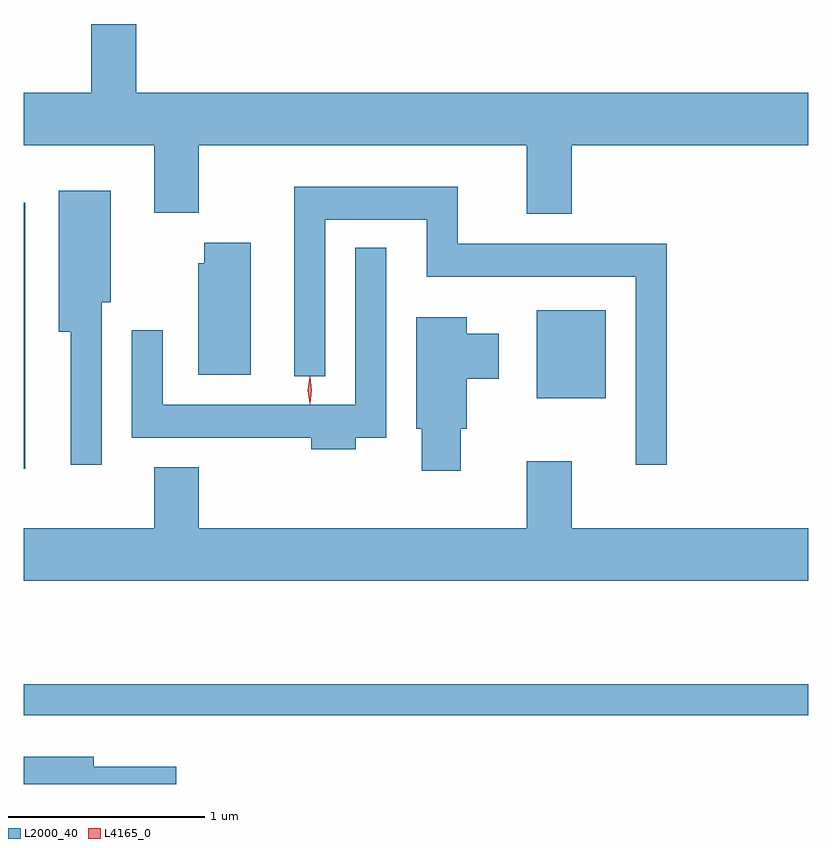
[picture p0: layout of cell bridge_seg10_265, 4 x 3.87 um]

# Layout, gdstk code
import gdstk
lib = gdstk.Library(unit=1e-6, precision=1e-09)
def R(c, l, rs):  # rectangles x0, y0, x1, y1
    for r in rs: c.add(gdstk.rectangle(r[:2], r[2:], *l))
def P(c, l, *ps):  # polygons
    for p in ps: c.add(gdstk.Polygon(p, *l))
L2000_40 = (2000, 40)
L4165_0 = (4165, 0)

bridge_seg10_265 = lib.new_cell('bridge_seg10_265')
R(bridge_seg10_265, L2000_40, [(1428.716,2199.811,1432.716,2199.969), (1428.716,2201.066,1428.724,2202.424), (1431.331,2201.426,1431.684,2201.874)])
P(bridge_seg10_265, L2000_40, [(1431.509,2202.716),(1432.716,2202.716),(1432.716,2202.984),(1429.289,2202.984),(1429.289,2203.334),(1429.061,2203.334),(1429.061,2202.984),(1428.716,2202.984),(1428.716,2202.716),(1429.381,2202.716),(1429.381,2202.371),(1429.609,2202.371),(1429.609,2202.716),(1431.281,2202.716),(1431.281,2202.366),(1431.509,2202.366)],
  [(1431.994,2202.214),(1430.929,2202.214),(1430.929,2202.504),(1430.096,2202.504),(1430.096,2201.538),(1430.254,2201.538),(1430.254,2202.336),(1430.771,2202.336),(1430.771,2202.046),(1431.836,2202.046),(1431.836,2201.088),(1431.994,2201.088)],
  [(1429.114,2201.916),(1429.159,2201.916),(1429.159,2202.484),(1428.896,2202.484),(1428.896,2201.766),(1428.956,2201.766),(1428.956,2201.088),(1429.114,2201.088)],
  [(1429.874,2202.219),(1429.636,2202.219),(1429.636,2202.114),(1429.606,2202.114),(1429.606,2201.546),(1429.874,2201.546)],
  [(1430.409,2201.226),(1430.564,2201.226),(1430.564,2202.193),(1430.406,2202.193),(1430.406,2201.394),(1429.424,2201.394),(1429.424,2201.773),(1429.266,2201.773),(1429.266,2201.226),(1430.181,2201.226),(1430.181,2201.166),(1430.409,2201.166)],
  [(1430.944,2201.271),(1430.974,2201.271),(1430.974,2201.526),(1431.139,2201.526),(1431.139,2201.754),(1430.974,2201.754),(1430.974,2201.839),(1430.716,2201.839),(1430.716,2201.271),(1430.746,2201.271),(1430.746,2201.056),(1430.944,2201.056)],
  [(1432.716,2200.764),(1431.509,2200.764),(1431.509,2201.104),(1431.281,2201.104),(1431.281,2200.764),(1429.609,2200.764),(1429.609,2201.074),(1429.381,2201.074),(1429.381,2200.764),(1428.716,2200.764),(1428.716,2200.496),(1432.716,2200.496)],
  [(1429.494,2199.549),(1429.074,2199.549),(1429.074,2199.599),(1428.716,2199.599),(1428.716,2199.46),(1429.494,2199.46)])
P(bridge_seg10_265, L4165_0, [(1430.175,2201.397),(1430.174,2201.398),(1430.165,2201.466),(1430.174,2201.536),(1430.175,2201.536),(1430.176,2201.536),(1430.185,2201.466),(1430.176,2201.398)])

lib.write_gds('bridge_seg10_265.gds')
